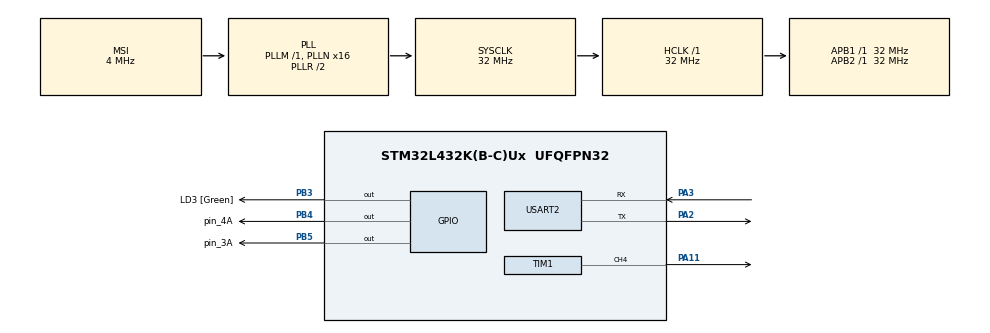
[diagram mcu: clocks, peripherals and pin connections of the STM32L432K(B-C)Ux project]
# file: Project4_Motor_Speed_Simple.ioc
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Mcu.Family=STM32L4
Mcu.Name=STM32L432K(B-C)Ux
Mcu.Package=UFQFPN32
NVIC.PriorityGroup=NVIC_PRIORITYGROUP_4
PA11.Signal=S_TIM1_CH4
PA2.Mode=Asynchronous
PA2.Signal=USART2_TX
PA3.Mode=Asynchronous
PA3.Signal=USART2_RX
PB3\ (JTDO-TRACESWO).GPIO_Label=LD3 [Green]
PB3\ (JTDO-TRACESWO).Signal=GPIO_Output
PB4\ (NJTRST).GPIO_Label=pin_4A
PB4\ (NJTRST).Signal=GPIO_Output
PB5.GPIO_Label=pin_3A
PB5.Signal=GPIO_Output
ProjectManager.HeapSize=0x200
ProjectManager.StackSize=0x400
ProjectManager.TargetToolchain=STM32CubeIDE
RCC.AHBFreq_Value=32000000
RCC.APB1Freq_Value=32000000
RCC.APB1TimFreq_Value=32000000
RCC.APB2Freq_Value=32000000
RCC.APB2TimFreq_Value=32000000
RCC.CortexFreq_Value=32000000
RCC.HCLKFreq_Value=32000000
RCC.HSE_VALUE=8000000
RCC.HSI16_VALUE=16000000
RCC.HSI48_VALUE=48000000
RCC.HSI_VALUE=16000000
RCC.LSE_VALUE=32768
RCC.MSI_VALUE=4000000
RCC.PLLMUL=RCC_PLLMUL_4
RCC.PLLN=16
RCC.SYSCLKFreq_VALUE=32000000
RCC.SYSCLKSource=RCC_SYSCLKSOURCE_PLLCLK
RCC.VCOOutputFreq_Value=64000000
SH.S_TIM1_CH4.0=TIM1_CH4,PWM Generation4 CH4
TIM1.Channel-PWM\ Generation4\ CH4=TIM_CHANNEL_4
TIM1.Period=500
TIM1.Prescaler=31
USART2.VirtualMode-Asynchronous=VM_ASYNC
VP_TIM1_VS_ClockSourceINT.Mode=Internal
board=NUCLEO-L432KC

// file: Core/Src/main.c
/* USER CODE BEGIN Header */
/**
  ******************************************************************************
  * @file           : main.c
  * @brief          : Main program body
  ******************************************************************************
  * @attention
  *
  * Copyright (c) 2026 STMicroelectronics.
  * All rights reserved.
  *
  * This software is licensed under terms that can be found in the LICENSE file
  * in the root directory of this software component.
  * If no LICENSE file comes with this software, it is provided AS-IS.
  *
  ******************************************************************************
  */
/* USER CODE END Header */
#include "main.h"

/* USER CODE BEGIN Includes */
#include <string.h>
/* USER CODE END Includes */

TIM_HandleTypeDef htim1;

UART_HandleTypeDef huart2;

void SystemClock_Config(void);
static void MX_GPIO_Init(void);
static void MX_USART2_UART_Init(void);
static void MX_TIM1_Init(void);

int main(void)
{

  /* MCU Configuration--------------------------------------------------------*/

  /* Reset of all peripherals, Initializes the Flash interface and the Systick. */
  HAL_Init();

  /* Configure the system clock */
  SystemClock_Config();

  /* Initialize all configured peripherals */
  MX_GPIO_Init();
  MX_USART2_UART_Init();
  MX_TIM1_Init();
  /* USER CODE BEGIN 2 */

  HAL_GPIO_WritePin(LD3_GPIO_Port, LD3_Pin, GPIO_PIN_SET);
  HAL_Delay (1000);   /* Insert delay 100 ms */
  HAL_GPIO_WritePin(LD3_GPIO_Port, LD3_Pin, GPIO_PIN_RESET);
  HAL_Delay (500);   /* Insert delay 100 ms */
  /* USER CODE END 2 */

  /* Infinite loop */
  while (1)
  {

    /* USER CODE BEGIN 3 */

	  uint8_t *Test = (uint8_t*) "Motor ON full speed\r\n"; //Data to send
	  HAL_UART_Transmit(&huart2, Test, strlen((char*)Test), 10);// Sending in normal mode
	  HAL_GPIO_WritePin(pin_4A_GPIO_Port, pin_4A_Pin, GPIO_PIN_SET);
	  HAL_GPIO_WritePin(pin_3A_GPIO_Port, pin_3A_Pin, GPIO_PIN_RESET);
	  TIM1->CCR4 = 500;
	  HAL_TIM_PWM_Start(&htim1, TIM_CHANNEL_4);
	  HAL_Delay(2500);

	  Test = (uint8_t*) "Motor ON half speed\r\n"; //Data to send
	  HAL_UART_Transmit(&huart2, Test, strlen((char*)Test), 10);// Sending in normal mode
	  HAL_GPIO_WritePin(pin_4A_GPIO_Port, pin_4A_Pin, GPIO_PIN_SET);
	  HAL_GPIO_WritePin(pin_3A_GPIO_Port, pin_3A_Pin, GPIO_PIN_RESET);
	  TIM1->CCR4 = 250;
	  HAL_TIM_PWM_Start(&htim1, TIM_CHANNEL_4);

	  HAL_Delay(2000);

	  HAL_UART_Transmit(&huart2,
	                    (uint8_t*)"\033[2J\033[H",
	                    strlen("\033[2J\033[H"),
	                    10);

  }
  /* USER CODE END 3 */
}

void SystemClock_Config(void)
{
  RCC_OscInitTypeDef RCC_OscInitStruct = {0};
  RCC_ClkInitTypeDef RCC_ClkInitStruct = {0};

  /** Configure the main internal regulator output voltage
  */
  if (HAL_PWREx_ControlVoltageScaling(PWR_REGULATOR_VOLTAGE_SCALE1) != HAL_OK)
  {
    Error_Handler();
  }

  /** Initializes the RCC Oscillators according to the specified parameters
  * in the RCC_OscInitTypeDef structure.
  */
  RCC_OscInitStruct.OscillatorType = RCC_OSCILLATORTYPE_MSI;
  RCC_OscInitStruct.MSIState = RCC_MSI_ON;
  RCC_OscInitStruct.MSICalibrationValue = 0;
  RCC_OscInitStruct.MSIClockRange = RCC_MSIRANGE_6;
  RCC_OscInitStruct.PLL.PLLState = RCC_PLL_ON;
  RCC_OscInitStruct.PLL.PLLSource = RCC_PLLSOURCE_MSI;
  RCC_OscInitStruct.PLL.PLLM = 1;
  RCC_OscInitStruct.PLL.PLLN = 16;
  RCC_OscInitStruct.PLL.PLLP = RCC_PLLP_DIV7;
  RCC_OscInitStruct.PLL.PLLQ = RCC_PLLQ_DIV2;
  RCC_OscInitStruct.PLL.PLLR = RCC_PLLR_DIV2;
  if (HAL_RCC_OscConfig(&RCC_OscInitStruct) != HAL_OK)
  {
    Error_Handler();
  }

  /** Initializes the CPU, AHB and APB buses clocks
  */
  RCC_ClkInitStruct.ClockType = RCC_CLOCKTYPE_HCLK|RCC_CLOCKTYPE_SYSCLK
                              |RCC_CLOCKTYPE_PCLK1|RCC_CLOCKTYPE_PCLK2;
  RCC_ClkInitStruct.SYSCLKSource = RCC_SYSCLKSOURCE_PLLCLK;
  RCC_ClkInitStruct.AHBCLKDivider = RCC_SYSCLK_DIV1;
  RCC_ClkInitStruct.APB1CLKDivider = RCC_HCLK_DIV1;
  RCC_ClkInitStruct.APB2CLKDivider = RCC_HCLK_DIV1;

  if (HAL_RCC_ClockConfig(&RCC_ClkInitStruct, FLASH_LATENCY_1) != HAL_OK)
  {
    Error_Handler();
  }
}

static void MX_TIM1_Init(void)
{

  TIM_ClockConfigTypeDef sClockSourceConfig = {0};
  TIM_MasterConfigTypeDef sMasterConfig = {0};
  TIM_OC_InitTypeDef sConfigOC = {0};
  TIM_BreakDeadTimeConfigTypeDef sBreakDeadTimeConfig = {0};

  htim1.Instance = TIM1;
  htim1.Init.Prescaler = 31;
  htim1.Init.CounterMode = TIM_COUNTERMODE_UP;
  htim1.Init.Period = 500;
  htim1.Init.ClockDivision = TIM_CLOCKDIVISION_DIV1;
  htim1.Init.RepetitionCounter = 0;
  htim1.Init.AutoReloadPreload = TIM_AUTORELOAD_PRELOAD_DISABLE;
  if (HAL_TIM_Base_Init(&htim1) != HAL_OK)
  {
    Error_Handler();
  }
  sClockSourceConfig.ClockSource = TIM_CLOCKSOURCE_INTERNAL;
  if (HAL_TIM_ConfigClockSource(&htim1, &sClockSourceConfig) != HAL_OK)
  {
    Error_Handler();
  }
  if (HAL_TIM_PWM_Init(&htim1) != HAL_OK)
  {
    Error_Handler();
  }
  sMasterConfig.MasterOutputTrigger = TIM_TRGO_RESET;
  sMasterConfig.MasterOutputTrigger2 = TIM_TRGO2_RESET;
  sMasterConfig.MasterSlaveMode = TIM_MASTERSLAVEMODE_DISABLE;
  if (HAL_TIMEx_MasterConfigSynchronization(&htim1, &sMasterConfig) != HAL_OK)
  {
    Error_Handler();
  }
  sConfigOC.OCMode = TIM_OCMODE_PWM1;
  sConfigOC.Pulse = 0;
  sConfigOC.OCPolarity = TIM_OCPOLARITY_HIGH;
  sConfigOC.OCFastMode = TIM_OCFAST_DISABLE;
  sConfigOC.OCIdleState = TIM_OCIDLESTATE_RESET;
  sConfigOC.OCNIdleState = TIM_OCNIDLESTATE_RESET;
  if (HAL_TIM_PWM_ConfigChannel(&htim1, &sConfigOC, TIM_CHANNEL_4) != HAL_OK)
  {
    Error_Handler();
  }
  sBreakDeadTimeConfig.OffStateRunMode = TIM_OSSR_DISABLE;
  sBreakDeadTimeConfig.OffStateIDLEMode = TIM_OSSI_DISABLE;
  sBreakDeadTimeConfig.LockLevel = TIM_LOCKLEVEL_OFF;
  sBreakDeadTimeConfig.DeadTime = 0;
  sBreakDeadTimeConfig.BreakState = TIM_BREAK_DISABLE;
  sBreakDeadTimeConfig.BreakPolarity = TIM_BREAKPOLARITY_HIGH;
  sBreakDeadTimeConfig.BreakFilter = 0;
  sBreakDeadTimeConfig.Break2State = TIM_BREAK2_DISABLE;
  sBreakDeadTimeConfig.Break2Polarity = TIM_BREAK2POLARITY_HIGH;
  sBreakDeadTimeConfig.Break2Filter = 0;
  sBreakDeadTimeConfig.AutomaticOutput = TIM_AUTOMATICOUTPUT_DISABLE;
  if (HAL_TIMEx_ConfigBreakDeadTime(&htim1, &sBreakDeadTimeConfig) != HAL_OK)
  {
    Error_Handler();
  }
  HAL_TIM_MspPostInit(&htim1);

}

static void MX_USART2_UART_Init(void)
{

  huart2.Instance = USART2;
  huart2.Init.BaudRate = 115200;
  huart2.Init.WordLength = UART_WORDLENGTH_8B;
  huart2.Init.StopBits = UART_STOPBITS_1;
  huart2.Init.Parity = UART_PARITY_NONE;
  huart2.Init.Mode = UART_MODE_TX_RX;
  huart2.Init.HwFlowCtl = UART_HWCONTROL_NONE;
  huart2.Init.OverSampling = UART_OVERSAMPLING_16;
  huart2.Init.OneBitSampling = UART_ONE_BIT_SAMPLE_DISABLE;
  huart2.AdvancedInit.AdvFeatureInit = UART_ADVFEATURE_NO_INIT;
  if (HAL_UART_Init(&huart2) != HAL_OK)
  {
    Error_Handler();
  }

}

static void MX_GPIO_Init(void)
{
  GPIO_InitTypeDef GPIO_InitStruct = {0};

  /* GPIO Ports Clock Enable */
  __HAL_RCC_GPIOA_CLK_ENABLE();
  __HAL_RCC_GPIOB_CLK_ENABLE();

  /*Configure GPIO pin Output Level */
  HAL_GPIO_WritePin(GPIOB, LD3_Pin|pin_4A_Pin|pin_3A_Pin, GPIO_PIN_RESET);

  /*Configure GPIO pins : LD3_Pin pin_4A_Pin pin_3A_Pin */
  GPIO_InitStruct.Pin = LD3_Pin|pin_4A_Pin|pin_3A_Pin;
  GPIO_InitStruct.Mode = GPIO_MODE_OUTPUT_PP;
  GPIO_InitStruct.Pull = GPIO_NOPULL;
  GPIO_InitStruct.Speed = GPIO_SPEED_FREQ_LOW;
  HAL_GPIO_Init(GPIOB, &GPIO_InitStruct);

}

void Error_Handler(void)
{
  __disable_irq();
  while (1)
  {
  }
}
